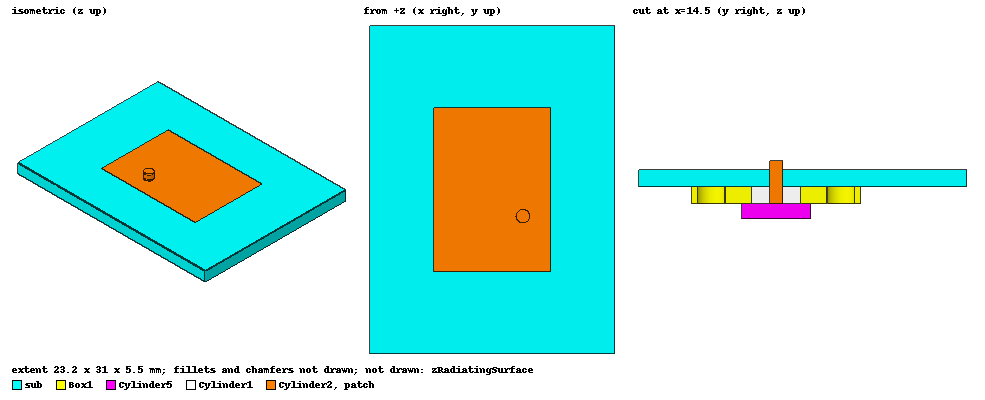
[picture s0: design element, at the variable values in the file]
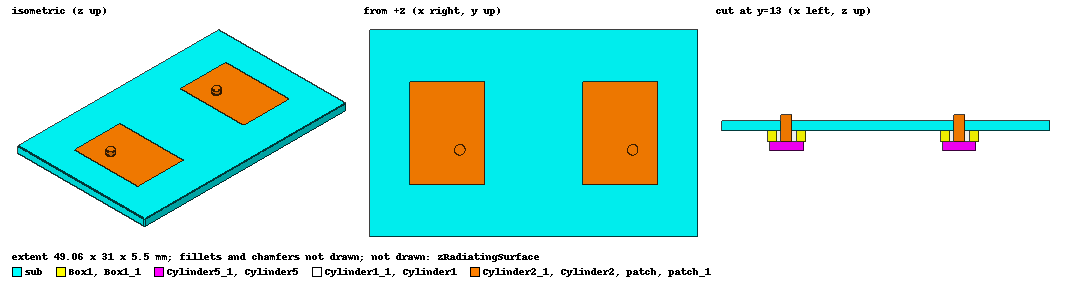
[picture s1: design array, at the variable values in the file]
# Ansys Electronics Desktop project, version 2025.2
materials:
  vacuum: permittivity=1
  FR4_epoxy: permittivity=4.4 dielectric_loss_tangent=0.02
  copper: permeability=0.999991 conductivity=58000000
  pec: conductivity=1e+30
  Teflon (tm): permittivity=2.1 dielectric_loss_tangent=0.001

design element (HFSS, HFSS Terminal Network, model units mm)
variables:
  gnd_l = 23.2mm
  gnd_w = 31mm
  thickness = 1.6mm
  patch_l = 11.03mm
  patch_w = 15.5mm
  filling_x = 14mm
  filling_r = 1mm
  filling_z = -filling_h
  coax_r = 0.5*filling_r
  filling_h = 3.85mm
  filling_y = 23mm
  eps = 4.4
  eps_reff = (eps+1)/2+(eps-1)/2*sqrt(1+12*thickness/patch_w)
  base_l = 5.7mm
  base_w = 16mm
  base_h = 1.6mm
  insulator_r = 2.28mm
  conn_y = 13mm
  conn_x = 14.5mm
  mount_r = 1.3mm
  mount_dev = 1.89mm
  insulator_h = 1.6mm
  probe_r = 0.635mm
  probe_h = insulator_h+2.5mm
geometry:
  gnd = rectangle(corner=(0mm, 0mm, 0mm), x_size=gnd_l, y_size=gnd_w)
  sub [FR4_epoxy] = box(corner=(0mm, 0mm, 0mm), size=(gnd_l, gnd_w, thickness))
  patch = rectangle(corner=((gnd_l-patch_l)/2, (gnd_w-patch_w)/2, thickness), x_size=patch_l, y_size=patch_w)
  zRadiatingSurface [vacuum] = region(absolute_offset=17.241379mm on all sides)
  plane Plane1 = base (0mm, 0mm, 0mm) normal (0mm, 0mm, -1.6mm)
  Box1 [copper] = box(corner=(conn_x-base_l/2, conn_y-base_w/2, -base_h), size=(base_l, base_w, base_h))
  Box1.chamfer(Edges=Box1.edge(at (17.35, 21, -0.8), at (11.65, 21, -0.8), at (11.65, 5, -0.8), at (17.35, 5, -0.8)) LeftDistance=1.89mm RightDistance=1.89mm ChamferType=Symmetric ChamferAdditionalGeometryInfo{ChamferEdgeGeometryInfo{ChamferEdgeID=412 ChamferEdgeSense ChamferEdgeStart{X=11.65mm Y=5mm Z=-1.6mm} ChamferEdgeEnd{X=11.65mm Y=5mm Z=0mm} ChamferEdgeMid{X=11.65mm Y=5mm Z=-0.8mm} ChamferEdgeMidTangent(0, 0, 1)} ChamferEdgeGeometryInfo{ChamferEdgeID=414 ChamferEdgeSense ChamferEdgeStart{X=11.65mm Y=21mm Z=-1.6mm} ChamferEdgeEnd{X=11.65mm Y=21mm Z=0mm} ChamferEdgeMid{X=11.65mm Y=21mm Z=-0.8mm} ChamferEdgeMidTangent(0, 0, 1)} ChamferEdgeGeometryInfo{ChamferEdgeID=415 ChamferEdgeSense ChamferEdgeStart{X=17.35mm Y=21mm Z=-1.6mm} ChamferEdgeEnd{X=17.35mm Y=21mm Z=0mm} ChamferEdgeMid{X=17.35mm Y=21mm Z=-0.8mm} ChamferEdgeMidTangent(0, 0, 1)} ChamferEdgeGeometryInfo{ChamferEdgeID=413 ChamferEdgeSense ChamferEdgeStart{X=17.35mm Y=5mm Z=-1.6mm} ChamferEdgeEnd{X=17.35mm Y=5mm Z=0mm} ChamferEdgeMid{X=17.35mm Y=5mm Z=-0.8mm} ChamferEdgeMidTangent(0, 0, 1)}})
  Cylinder3 = cylinder(axis=Z, base_centre=(conn_x, conn_y-base_w/2+mount_dev, -base_h), radius=mount_r, height=base_h)
  Cylinder4 = cylinder(axis=Z, base_centre=(conn_x, conn_y+base_w/2-mount_dev, -base_h), radius=mount_r, height=base_h)
  Box1.subtract(Cylinder3, Cylinder4)
  Cylinder1 [Teflon (tm)] = cylinder(axis=Z, base_centre=(conn_x, conn_y, -insulator_h), radius=insulator_r, height=insulator_h)
  Cylinder2 [copper] = cylinder(axis=Z, base_centre=(conn_x, conn_y, -insulator_h), radius=probe_r, height=probe_h)
  Circle1 = circle(normal=Z, centre=(conn_x, conn_y, 0mm), radius=insulator_r+0.1mm)
  gnd.subtract(Circle1)
  Cylinder5 [pec] = cylinder(axis=Z, base_centre=(conn_x, conn_y, -base_h), radius=insulator_r+1mm, height=-1.4mm)
  Cylinder6 = cylinder(axis=Z, base_centre=(conn_x, conn_y, -insulator_h), radius=probe_r, height=probe_h)
  Cylinder1.subtract(Cylinder6)
  Cylinder7 = cylinder(axis=Z, base_centre=(conn_x, conn_y, -insulator_h), radius=probe_r, height=probe_h)
  sub.subtract(Cylinder7)
  Cylinder8 = cylinder(axis=Z, base_centre=(conn_x, conn_y, -insulator_h), radius=probe_r, height=probe_h)
  Box1.subtract(Cylinder8)
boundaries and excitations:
  FiniteCond1: Finite Conductivity Objects=[gnd, patch] Conductivity=58000000 Permeability=1 IsInternal
  Open1: Radiation Objects=zRadiatingSurface
  1: Wave Port Faces=Cylinder5.face(+z end) WavePortType=Modal NumModes=1 DeembedDist=3.2mm Modes{Mode1{IntLine{(14.5, 15.28, -1.6) -> (14500mm, 14049.6mm, -1600mm)} CharImp=Zpi}}
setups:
  Setup1: HfssDriven Frequency=5.8GHz MaxDeltaS=0.02 MaximumPasses=6 MinimumPasses=1 MinimumConvergedPasses=1 PercentRefinement=30 BasisOrder=1 PortAccuracy=2 DrivenSolverType="Direct Solver"
    sweep Sweep: 4.8GHz to 6.8GHz, 401 points; Type=Fast SaveFields
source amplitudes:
  1:1: 1V 0deg
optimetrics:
  ParametricSetup1: Parametric disabled Sim._Setups=[Setup1]
    sweep conn_x: LIN 7mm 16mm 1.5mm
  ParametricSetup2: Parametric disabled Sim._Setups=[Setup1]
    sweep conn_y: LIN 6mm 18mm 2mm
  ParametricSetup3: Parametric disabled Sim._Setups=[Setup1]
    sweep patch_l: LIN 11mm 11.24mm 0.02mm
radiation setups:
  3D: Infinite Sphere Theta=0deg..180deg step 2deg Phi=-180deg..180deg step 2deg
  Elevation: Infinite Sphere Theta=-180deg..180deg step 1deg Phi=0deg..90deg step 90deg
  Azimuth: Infinite Sphere Theta=90deg..90deg step 0deg Phi=-180deg..180deg step 1deg
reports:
  Terminal S Parameter Plot2: dB(St(1,1)) vs Freq on Setup1 : Sweep [patch_l=11.03mm conn_y=13mm conn_x=14.5mm]; markers m1 at 5.79GHz, MY1 at y=-20

design array (HFSS, HFSS Terminal Network, model units mm)
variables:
  conn_x = 13.5mm
  conn_y = 13mm
  gnd_w = 31mm
  gnd_l = 49.06mm
  insulator_r = 1.5mm
  probe_h = insulator_h+2.5mm
  insulator_h = 1.6mm
  probe_r = 0.8mm
  thickness = 1.6mm
  patch_w = 15.5mm
  patch_l = 11.12mm
  mount_dev = 1.89mm
  mount_r = 1.3mm
  base_w = 16mm
  base_l = 5.7mm
  base_h = 1.6mm
  dist_to_edge_l = 6.04mm
  dist_to_edge_w = 7.75mm
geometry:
  gnd = rectangle(corner=(0mm, 0mm, 0mm), x_size=gnd_l, y_size=gnd_w)
  sub [FR4_epoxy] = box(corner=(0mm, 0mm, 0mm), size=(gnd_l, gnd_w, thickness))
  Cylinder7 = cylinder(axis=Z, base_centre=(conn_x, conn_y, -insulator_h), radius=probe_r, height=probe_h)
  sub.subtract(Cylinder7)
  patch = rectangle(corner=(dist_to_edge_l, dist_to_edge_w, thickness), x_size=patch_l, y_size=patch_w)
  Box1 [copper] = box(corner=(conn_x-base_l/2, conn_y-base_w/2, -base_h), size=(base_l, base_w, base_h))
  Box1.chamfer(Edges=Box1.edge(at (16.35, 21, -0.8), at (10.65, 21, -0.8), at (10.65, 5, -0.8), at (16.35, 5, -0.8)) LeftDistance=1.89mm RightDistance=1.89mm ChamferType=Symmetric ChamferAdditionalGeometryInfo{ChamferEdgeGeometryInfo{ChamferEdgeID=79 ChamferEdgeSense ChamferEdgeStart{X=10.65mm Y=5mm Z=-1.6mm} ChamferEdgeEnd{X=10.65mm Y=5mm Z=0mm} ChamferEdgeMid{X=10.65mm Y=5mm Z=-0.8mm} ChamferEdgeMidTangent(0, 0, 1)} ChamferEdgeGeometryInfo{ChamferEdgeID=81 ChamferEdgeSense ChamferEdgeStart{X=10.65mm Y=21mm Z=-1.6mm} ChamferEdgeEnd{X=10.65mm Y=21mm Z=0mm} ChamferEdgeMid{X=10.65mm Y=21mm Z=-0.8mm} ChamferEdgeMidTangent(0, 0, 1)} ChamferEdgeGeometryInfo{ChamferEdgeID=82 ChamferEdgeSense ChamferEdgeStart{X=16.35mm Y=21mm Z=-1.6mm} ChamferEdgeEnd{X=16.35mm Y=21mm Z=0mm} ChamferEdgeMid{X=16.35mm Y=21mm Z=-0.8mm} ChamferEdgeMidTangent(0, 0, 1)} ChamferEdgeGeometryInfo{ChamferEdgeID=80 ChamferEdgeSense ChamferEdgeStart{X=16.35mm Y=5mm Z=-1.6mm} ChamferEdgeEnd{X=16.35mm Y=5mm Z=0mm} ChamferEdgeMid{X=16.35mm Y=5mm Z=-0.8mm} ChamferEdgeMidTangent(0, 0, 1)}})
  Cylinder3 = cylinder(axis=Z, base_centre=(conn_x, conn_y-base_w/2+mount_dev, -base_h), radius=mount_r, height=base_h)
  Cylinder4 = cylinder(axis=Z, base_centre=(conn_x, conn_y+base_w/2-mount_dev, -base_h), radius=mount_r, height=base_h)
  Box1.subtract(Cylinder3, Cylinder4)
  Cylinder8 = cylinder(axis=Z, base_centre=(conn_x, conn_y, -insulator_h), radius=probe_r, height=probe_h)
  Box1.subtract(Cylinder8)
  Cylinder1 [Teflon (tm)] = cylinder(axis=Z, base_centre=(conn_x, conn_y, -insulator_h), radius=insulator_r, height=insulator_h)
  Cylinder6 = cylinder(axis=Z, base_centre=(conn_x, conn_y, -insulator_h), radius=probe_r, height=probe_h)
  Cylinder1.subtract(Cylinder6)
  Cylinder2 [copper] = cylinder(axis=Z, base_centre=(conn_x, conn_y, -insulator_h), radius=probe_r, height=probe_h)
  Cylinder5 [pec] = cylinder(axis=Z, base_centre=(conn_x, conn_y, -base_h), radius=insulator_r+1mm, height=-1.4mm)
  Circle1 = circle(normal=Z, centre=(conn_x, conn_y, 0mm), radius=insulator_r+0.1mm)
  zRadiatingSurface [vacuum] = region(absolute_offset=17.241379mm on all sides)
  patch_1 = patch.duplicate_along_line(step=(25.86mm, 0mm, 0mm), total=2)
  Box1_1 [copper] = Box1.duplicate_along_line(step=(25.86mm, 0mm, 0mm), total=2)
  Cylinder1_1 [Teflon (tm)] = Cylinder1.duplicate_along_line(step=(25.86mm, 0mm, 0mm), total=2)
  Cylinder2_1 [copper] = Cylinder2.duplicate_along_line(step=(25.86mm, 0mm, 0mm), total=2)
  Cylinder5_1 [pec] = Cylinder5.duplicate_along_line(step=(25.86mm, 0mm, 0mm), total=2)
  Circle1_1 = Circle1.duplicate_along_line(step=(25.86mm, 0mm, 0mm), total=2)
  gnd.subtract(Circle1, Circle1_1)
  Cylinder9 = cylinder(axis=Z, base_centre=(conn_x, conn_y, -insulator_h), radius=probe_r, height=probe_h)
  Cylinder2_2 = Cylinder9.duplicate_along_line(step=(25.86mm, 0mm, 0mm), total=2)
  Cylinder9.delete()
  sub.subtract(Cylinder2_2)
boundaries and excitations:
  FiniteCond1: Finite Conductivity Objects=[gnd, patch] Conductivity=58000000 Permeability=1 IsInternal
  Open1: Radiation Objects=zRadiatingSurface
  FiniteCond2: Finite Conductivity Objects=patch_1 Conductivity=58000000 Permeability=1 IsInternal
  1: Wave Port Faces=Cylinder5.face(+z end) WavePortType=Modal NumModes=1 DeembedDist=3.2mm Modes{Mode1{IntLine{(13.5, 14.5, -1.6) -> (13500mm, 13800mm, -1600mm)} CharImp=Zpi}}
  2: Wave Port Faces=Cylinder5_1.face(at (39.36, 13, -1.6)) WavePortType=Modal NumModes=1 DeembedDist=3.2mm Modes{Mode1{IntLine{(39.36, 14.5, -1.6) -> (39360mm, 13800mm, -1600mm)} CharImp=Zpi}}
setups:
  Setup1: HfssDriven Frequency=5.8GHz MaxDeltaS=0.02 MaximumPasses=6 MinimumPasses=1 MinimumConvergedPasses=1 PercentRefinement=30 BasisOrder=1 PortAccuracy=2 DrivenSolverType="Direct Solver"
    sweep Sweep: 4.2GHz to 7.4GHz, 401 points; Type=Fast SaveFields
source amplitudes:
  1:1: 1W 0deg
  2:1: 0W 0deg
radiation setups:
  3D: Infinite Sphere Theta=0deg..180deg step 2deg Phi=-180deg..180deg step 2deg
  Elevation: Infinite Sphere Theta=-180deg..180deg step 1deg Phi=0deg..90deg step 90deg
  Azimuth: Infinite Sphere Theta=90deg..90deg step 0deg Phi=-180deg..180deg step 1deg
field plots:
  Mag_Jsurf1: Jsurf over patch.face(at (11.6, 15.5, 1.6)) on Setup1 : LastAdaptive at Freq=5.8GHz Phase=0deg
  Mag_Jsurf2: Jsurf over patch_1.face on Setup1 : LastAdaptive at Freq=5.8GHz Phase=0deg
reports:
  Terminal S Parameter Plot1: dB(St(1,1)), dB(St(2,1)), dB(St(2,2)) vs Freq on Setup1 : Sweep; markers m1 at 5.808GHz, MX1 at x=5.8e+09, MY1 at y=-20
